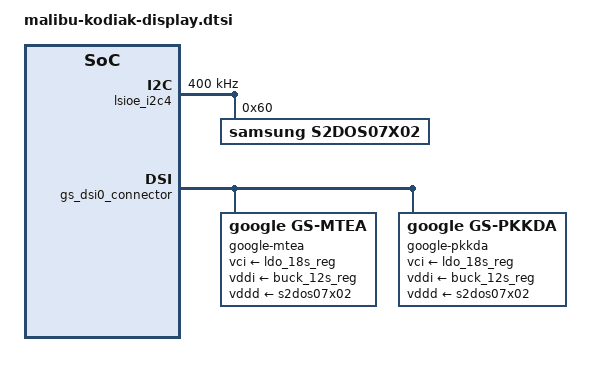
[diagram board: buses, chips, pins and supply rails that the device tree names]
// SPDX-License-Identifier: GPL-2.0-only
/*
 * kodiak display device tree source
 *
 * Copyright 2025 Google LLC
 */

#include <dt-bindings/gpio/gpio.h>

&lsioe_i2c4 {
	status = "ok";
	#address-cells = <1>;
	#size-cells = <0>;
	clock-frequency = <400000>;
	s2dos07x02: s2dos07x02@60 {
		compatible = "samsung,s2dos07x02";
		reg = <0x60>;
		status = "okay";
		regulator-name = "s2dos07x02-pmic";
	};
};

&dpu {
	pinctrl-0 = <&disp0_2_ap_te>;
	pinctrl-names = "default";
};

&gs_dsi0_connector {
	google,preferred-panel = <&google_gs_pkkda>;

	google_gs_mtea: panel-gs-mtea {
		compatible = "google,gs-mtea";
		label = "google-mtea";
		channel = <0>;

		/* reset, power */
		reset-gpios = <PMICS2DISP0_RESET_L(GPIO_ACTIVE_HIGH)>;
		vci-supply = <&ldo_18s_reg>;
		vddi-supply = <&buck_12s_reg>;
		vddd-supply = <&s2dos07x02>;
		vddd-normal-microvolt = <887500>;
		vddd-lp-microvolt     = <862500>;
	};

	google_gs_pkkda: panel-gs-pkkda {
		compatible = "google,gs-pkkda";
		label = "google-pkkda";
		channel = <0>;
		allowed-hs-clks = <1368 1346>;

		/* reset, power */
		reset-gpios = <PMICS2DISP0_RESET_L(GPIO_ACTIVE_HIGH)>;
		tout-gpios = <DISP0_2_AP_PROX0_TOUT(GPIO_ACTIVE_HIGH)>;
		err_fg-gpios = <DISP0_2_AP_ERR_FG(GPIO_ACTIVE_HIGH)>;
		vci-supply = <&ldo_18s_reg>;
		vddi-supply = <&buck_12s_reg>;
		vddd-supply = <&s2dos07x02>;
		vddd-normal-microvolt = <887500>;
		vddd-lp-microvolt     = <862500>;

		pinctrl-names = "default", "sleep";
		pinctrl-0 = <&disp0pmic2aoss_int_od_l_1v2>;
		pinctrl-1 = <&disp0pmic2aoss_int_od_l_1v2_sleep>;

		/* PMIC IRQB interrupt */
		pmic_irq-gpio = <DISP0PMIC2AOSS_INT_OD_L_1V2(GPIO_ACTIVE_LOW)>;
		pmic-regmap = <&s2dos07x02>;
	};
};

&dsi2h0 {
	datarate = <1368>;
};
